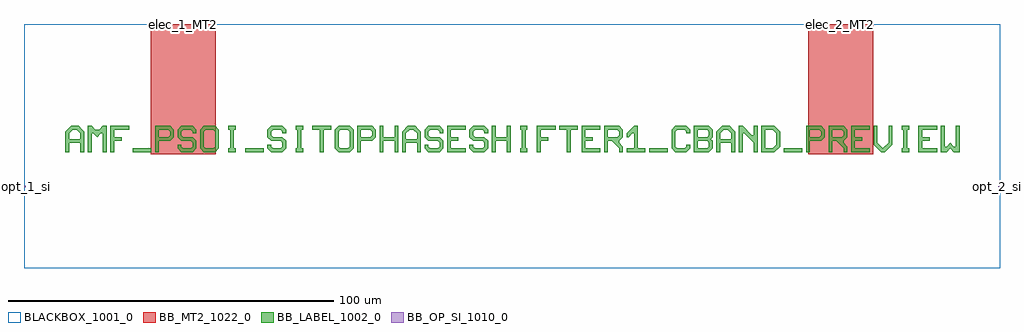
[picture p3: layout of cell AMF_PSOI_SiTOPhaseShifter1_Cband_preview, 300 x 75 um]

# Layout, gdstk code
import gdstk
lib = gdstk.Library(unit=1e-6, precision=1e-09)
def R(c, l, rs):  # rectangles x0, y0, x1, y1
    for r in rs: c.add(gdstk.rectangle(r[:2], r[2:], *l))
def P(c, l, *ps):  # polygons
    for p in ps: c.add(gdstk.Polygon(p, *l))
BLACKBOX_1001_0 = (1001, 0)
BB_LABEL_1002_0 = (1002, 0)
BB_OP_SI_1010_0 = (1010, 0)
BB_MT2_1022_0 = (1022, 0)

amf_psoi_sitophaseshifte = lib.new_cell('AMF_PSOI_SiTOPhaseShifter1_Cband_preview')
R(amf_psoi_sitophaseshifte, BLACKBOX_1001_0, [(0,-25,300,50)])
R(amf_psoi_sitophaseshifte, BB_LABEL_1002_0, [(33.435,10.613,39.185,11.763), (67.935,10.613,73.685,11.763), (192.135,10.613,197.885,11.763), (233.535,10.613,239.285,11.763)])
P(amf_psoi_sitophaseshifte, BB_LABEL_1002_0, [(12.735,10.613),(12.735,16.938),(14.46,18.663),(16.76,18.663),(17.91,17.513),(15.035,17.513),(13.885,16.363),(13.885,14.638),(17.335,14.638),(17.335,16.363),(16.185,17.513),(17.91,17.513),(18.485,16.938),(18.485,10.613),(17.335,10.613),(17.335,13.488),(13.885,13.488),(13.885,10.613)],
  [(19.635,10.613),(19.635,18.663),(20.785,18.663),(21.935,17.513),(23.085,17.513),(24.235,18.663),(25.385,18.663),(25.385,10.613),(24.235,10.613),(24.235,16.363),(23.66,16.363),(22.51,15.213),(21.36,16.363),(20.785,16.363),(20.785,10.613)],
  [(26.535,10.613),(26.535,18.663),(32.285,18.663),(32.285,17.513),(27.685,17.513),(27.685,15.213),(29.985,15.213),(29.985,14.063),(27.685,14.063),(27.685,10.613)],
  [(40.335,10.613),(40.335,18.663),(44.935,18.663),(46.085,17.513),(46.085,15.213),(44.935,14.063),(41.485,14.063),(41.485,15.213),(44.36,15.213),(44.935,15.788),(44.935,16.938),(44.36,17.513),(41.485,17.513),(41.485,10.613)],
  [(48.385,10.613),(47.235,11.763),(47.235,12.913),(48.385,12.913),(48.385,12.338),(48.96,11.763),(51.26,11.763),(51.835,12.338),(51.835,13.488),(51.26,14.063),(48.385,14.063),(47.235,15.213),(47.235,17.513),(48.385,18.663),(51.835,18.663),(52.985,17.513),(52.985,16.363),(51.835,16.363),(51.835,16.938),(51.26,17.513),(48.96,17.513),(48.385,16.938),(48.385,15.788),(48.96,15.213),(51.835,15.213),(52.985,14.063),(52.985,11.763),(51.835,10.613)],
  [(55.285,10.613),(54.135,11.763),(54.135,17.513),(55.285,18.663),(58.735,18.663),(59.885,17.513),(59.885,14.638),(58.735,14.638),(58.735,16.938),(58.16,17.513),(55.86,17.513),(55.285,16.938),(55.285,12.338),(55.86,11.763),(58.16,11.763),(58.735,12.338),(58.735,14.638),(59.885,14.638),(59.885,11.763),(58.735,10.613)],
  [(62.76,10.613),(62.76,11.763),(63.335,11.763),(63.335,17.513),(62.76,17.513),(62.76,18.663),(65.06,18.663),(65.06,17.513),(64.485,17.513),(64.485,11.763),(65.06,11.763),(65.06,10.613)],
  [(75.985,10.613),(74.835,11.763),(74.835,12.913),(75.985,12.913),(75.985,12.338),(76.56,11.763),(78.86,11.763),(79.435,12.338),(79.435,13.488),(78.86,14.063),(75.985,14.063),(74.835,15.213),(74.835,17.513),(75.985,18.663),(79.435,18.663),(80.585,17.513),(80.585,16.363),(79.435,16.363),(79.435,16.938),(78.86,17.513),(76.56,17.513),(75.985,16.938),(75.985,15.788),(76.56,15.213),(79.435,15.213),(80.585,14.063),(80.585,11.763),(79.435,10.613)],
  [(83.46,10.613),(83.46,11.763),(84.035,11.763),(84.035,17.513),(83.46,17.513),(83.46,18.663),(85.76,18.663),(85.76,17.513),(85.185,17.513),(85.185,11.763),(85.76,11.763),(85.76,10.613)],
  [(90.935,10.613),(90.935,17.513),(88.635,17.513),(88.635,18.663),(94.385,18.663),(94.385,17.513),(92.085,17.513),(92.085,10.613)],
  [(96.685,10.613),(95.535,11.763),(95.535,17.513),(96.685,18.663),(100.135,18.663),(101.285,17.513),(101.285,14.638),(100.135,14.638),(100.135,16.938),(99.56,17.513),(97.26,17.513),(96.685,16.938),(96.685,12.338),(97.26,11.763),(99.56,11.763),(100.135,12.338),(100.135,14.638),(101.285,14.638),(101.285,11.763),(100.135,10.613)],
  [(102.435,10.613),(102.435,18.663),(107.035,18.663),(108.185,17.513),(108.185,15.213),(107.035,14.063),(103.585,14.063),(103.585,15.213),(106.46,15.213),(107.035,15.788),(107.035,16.938),(106.46,17.513),(103.585,17.513),(103.585,10.613)],
  [(109.335,10.613),(109.335,18.663),(110.485,18.663),(110.485,15.213),(113.935,15.213),(113.935,18.663),(115.085,18.663),(115.085,10.613),(113.935,10.613),(113.935,14.063),(110.485,14.063),(110.485,10.613)],
  [(116.235,10.613),(116.235,16.938),(117.96,18.663),(120.26,18.663),(121.41,17.513),(118.535,17.513),(117.385,16.363),(117.385,14.638),(120.835,14.638),(120.835,16.363),(119.685,17.513),(121.41,17.513),(121.985,16.938),(121.985,10.613),(120.835,10.613),(120.835,13.488),(117.385,13.488),(117.385,10.613)],
  [(124.285,10.613),(123.135,11.763),(123.135,12.913),(124.285,12.913),(124.285,12.338),(124.86,11.763),(127.16,11.763),(127.735,12.338),(127.735,13.488),(127.16,14.063),(124.285,14.063),(123.135,15.213),(123.135,17.513),(124.285,18.663),(127.735,18.663),(128.885,17.513),(128.885,16.363),(127.735,16.363),(127.735,16.938),(127.16,17.513),(124.86,17.513),(124.285,16.938),(124.285,15.788),(124.86,15.213),(127.735,15.213),(128.885,14.063),(128.885,11.763),(127.735,10.613)],
  [(130.035,10.613),(130.035,18.663),(135.785,18.663),(135.785,17.513),(131.185,17.513),(131.185,15.213),(133.485,15.213),(133.485,14.063),(131.185,14.063),(131.185,11.763),(135.785,11.763),(135.785,10.613)],
  [(138.085,10.613),(136.935,11.763),(136.935,12.913),(138.085,12.913),(138.085,12.338),(138.66,11.763),(140.96,11.763),(141.535,12.338),(141.535,13.488),(140.96,14.063),(138.085,14.063),(136.935,15.213),(136.935,17.513),(138.085,18.663),(141.535,18.663),(142.685,17.513),(142.685,16.363),(141.535,16.363),(141.535,16.938),(140.96,17.513),(138.66,17.513),(138.085,16.938),(138.085,15.788),(138.66,15.213),(141.535,15.213),(142.685,14.063),(142.685,11.763),(141.535,10.613)],
  [(143.835,10.613),(143.835,18.663),(144.985,18.663),(144.985,15.213),(148.435,15.213),(148.435,18.663),(149.585,18.663),(149.585,10.613),(148.435,10.613),(148.435,14.063),(144.985,14.063),(144.985,10.613)],
  [(152.46,10.613),(152.46,11.763),(153.035,11.763),(153.035,17.513),(152.46,17.513),(152.46,18.663),(154.76,18.663),(154.76,17.513),(154.185,17.513),(154.185,11.763),(154.76,11.763),(154.76,10.613)],
  [(157.635,10.613),(157.635,18.663),(163.385,18.663),(163.385,17.513),(158.785,17.513),(158.785,15.213),(161.085,15.213),(161.085,14.063),(158.785,14.063),(158.785,10.613)],
  [(166.835,10.613),(166.835,17.513),(164.535,17.513),(164.535,18.663),(170.285,18.663),(170.285,17.513),(167.985,17.513),(167.985,10.613)],
  [(171.435,10.613),(171.435,18.663),(177.185,18.663),(177.185,17.513),(172.585,17.513),(172.585,15.213),(174.885,15.213),(174.885,14.063),(172.585,14.063),(172.585,11.763),(177.185,11.763),(177.185,10.613)],
  [(178.335,10.613),(178.335,18.663),(182.935,18.663),(184.085,17.513),(179.485,17.513),(179.485,15.213),(182.36,15.213),(182.935,15.788),(182.935,16.938),(182.36,17.513),(184.085,17.513),(184.085,15.213),(182.935,14.063),(182.935,13.488),(184.085,12.338),(184.085,10.613),(182.935,10.613),(182.935,11.763),(180.635,14.063),(179.485,14.063),(179.485,10.613)],
  [(185.235,10.613),(185.235,11.763),(187.535,11.763),(187.535,16.363),(186.96,16.363),(185.81,15.213),(185.235,15.213),(185.235,16.363),(187.535,18.663),(188.685,18.663),(188.685,11.763),(190.985,11.763),(190.985,10.613)],
  [(200.185,10.613),(199.035,11.763),(199.035,17.513),(200.185,18.663),(203.635,18.663),(204.785,17.513),(204.785,16.363),(203.635,16.363),(203.635,16.938),(203.06,17.513),(200.76,17.513),(200.185,16.938),(200.185,12.338),(200.76,11.763),(203.06,11.763),(203.635,12.338),(203.635,12.913),(204.785,12.913),(204.785,11.763),(203.635,10.613)],
  [(205.935,10.613),(205.935,18.663),(210.535,18.663),(211.685,17.513),(207.085,17.513),(207.085,15.213),(209.96,15.213),(210.535,15.788),(210.535,16.938),(209.96,17.513),(211.685,17.513),(211.685,15.213),(211.11,14.638),(211.685,14.063),(207.085,14.063),(207.085,11.763),(209.96,11.763),(210.535,12.338),(210.535,13.488),(209.96,14.063),(211.685,14.063),(211.685,11.763),(210.535,10.613)],
  [(212.835,10.613),(212.835,16.938),(214.56,18.663),(216.86,18.663),(218.01,17.513),(215.135,17.513),(213.985,16.363),(213.985,14.638),(217.435,14.638),(217.435,16.363),(216.285,17.513),(218.01,17.513),(218.585,16.938),(218.585,10.613),(217.435,10.613),(217.435,13.488),(213.985,13.488),(213.985,10.613)],
  [(219.735,10.613),(219.735,18.663),(220.885,18.663),(223.76,15.788),(224.335,15.788),(224.335,18.663),(225.485,18.663),(225.485,10.613),(224.335,10.613),(224.335,13.488),(221.46,16.363),(220.885,16.363),(220.885,10.613)],
  [(226.635,10.613),(226.635,18.663),(230.66,18.663),(231.81,17.513),(227.785,17.513),(227.785,11.763),(230.085,11.763),(231.235,12.913),(231.235,16.363),(230.085,17.513),(231.81,17.513),(232.385,16.938),(232.385,12.338),(230.66,10.613)],
  [(240.435,10.613),(240.435,18.663),(245.035,18.663),(246.185,17.513),(246.185,15.213),(245.035,14.063),(241.585,14.063),(241.585,15.213),(244.46,15.213),(245.035,15.788),(245.035,16.938),(244.46,17.513),(241.585,17.513),(241.585,10.613)],
  [(247.335,10.613),(247.335,18.663),(251.935,18.663),(253.085,17.513),(248.485,17.513),(248.485,15.213),(251.36,15.213),(251.935,15.788),(251.935,16.938),(251.36,17.513),(253.085,17.513),(253.085,15.213),(251.935,14.063),(251.935,13.488),(253.085,12.338),(253.085,10.613),(251.935,10.613),(251.935,11.763),(249.635,14.063),(248.485,14.063),(248.485,10.613)],
  [(254.235,10.613),(254.235,18.663),(259.985,18.663),(259.985,17.513),(255.385,17.513),(255.385,15.213),(257.685,15.213),(257.685,14.063),(255.385,14.063),(255.385,11.763),(259.985,11.763),(259.985,10.613)],
  [(263.435,10.613),(261.135,12.913),(261.135,18.663),(262.285,18.663),(262.285,13.488),(264.01,11.763),(265.735,13.488),(265.735,18.663),(266.885,18.663),(266.885,12.913),(264.585,10.613)],
  [(269.76,10.613),(269.76,11.763),(270.335,11.763),(270.335,17.513),(269.76,17.513),(269.76,18.663),(272.06,18.663),(272.06,17.513),(271.485,17.513),(271.485,11.763),(272.06,11.763),(272.06,10.613)],
  [(274.935,10.613),(274.935,18.663),(280.685,18.663),(280.685,17.513),(276.085,17.513),(276.085,15.213),(278.385,15.213),(278.385,14.063),(276.085,14.063),(276.085,11.763),(280.685,11.763),(280.685,10.613)],
  [(281.835,10.613),(281.835,18.663),(282.985,18.663),(282.985,12.338),(283.56,12.338),(284.71,13.488),(285.86,12.338),(286.435,12.338),(286.435,18.663),(287.585,18.663),(287.585,10.613),(285.86,10.613),(284.71,11.763),(283.56,10.613)])
R(amf_psoi_sitophaseshifte, BB_OP_SI_1010_0, [(0,-0.25,0.5,0.25), (299.5,-0.25,300,0.25)])
R(amf_psoi_sitophaseshifte, BB_MT2_1022_0, [(39,10,59,50), (241,10,261,50)])
amf_psoi_sitophaseshifte.add(gdstk.Label('opt_2_si', (300,0), layer=1010, texttype=0))
amf_psoi_sitophaseshifte.add(gdstk.Label('opt_1_si', (0,0), layer=1010, texttype=0))
amf_psoi_sitophaseshifte.add(gdstk.Label('elec_1_MT2', (49,50), layer=1022, texttype=0))
amf_psoi_sitophaseshifte.add(gdstk.Label('elec_2_MT2', (251,50), layer=1022, texttype=0))

lib.write_gds('AMF_PSOI_SiTOPhaseShifter1_Cband_preview.gds')
